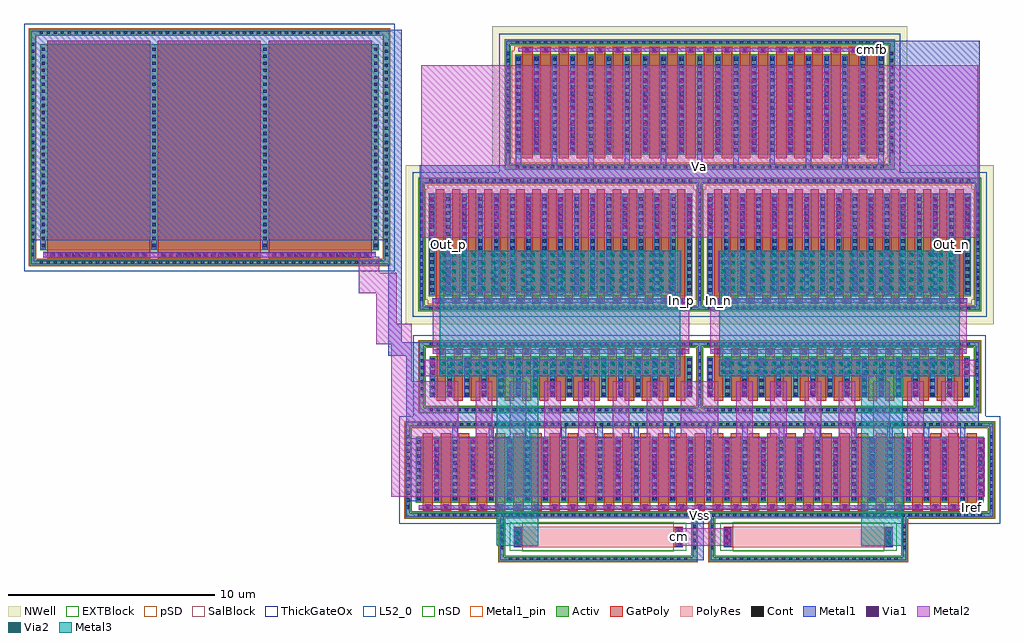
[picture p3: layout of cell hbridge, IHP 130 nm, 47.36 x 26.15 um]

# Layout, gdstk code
from math import pi, radians
import gdstk
lib = gdstk.Library(unit=1e-6, precision=1e-09)
def R(c, l, rs):  # rectangles x0, y0, x1, y1
    for r in rs: c.add(gdstk.rectangle(r[:2], r[2:], *l))
def A(c, l, x, y, w, h, nx, ny, dx, dy):  # array of equal rectangles
    R(c, l, [(x+i*dx, y+j*dy, x+i*dx+w, y+j*dy+h) for i in range(nx) for j in range(ny)])
Activ = (1, 0)
GatPoly = (5, 0)
Cont = (6, 0)
nSD = (7, 0)
Metal1 = (8, 0)
Metal1_pin = (8, 2)
Metal2 = (10, 0)
pSD = (14, 0)
Via1 = (19, 0)
SalBlock = (28, 0)
Via2 = (29, 0)
Metal3 = (30, 0)
NWell = (31, 0)
ThickGateOx = (44, 0)
L52_0 = (52, 0)
EXTBlock = (111, 0)
PolyRes = (128, 0)

dev_n_w2_l0p45_ng15_botc = lib.new_cell('dev_n_w2_l0p45_ng15_botc0')
R(dev_n_w2_l0p45_ng15_botc, Activ, [(-6.885,-1.74,6.885,-1.44), (-6.885,-1.44,-6.585,1.44), (6.585,-1.44,6.885,1.44), (-6.375,-1,6.375,1), (-6.885,1.44,6.885,1.74)])
A(dev_n_w2_l0p45_ng15_botc, GatPoly, -6.035, -1.18, 0.45, 2.55, 15, 1, 0.83, 0)
A(dev_n_w2_l0p45_ng15_botc, Cont, -6.37, -1.67, 0.16, 0.16, 38, 2, 0.34, 3.18)
A(dev_n_w2_l0p45_ng15_botc, Cont, -6.815, -1.005, 0.16, 0.16, 1, 7, 0, 0.34)
A(dev_n_w2_l0p45_ng15_botc, Cont, 6.655, -1.005, 0.16, 0.16, 1, 7, 0, 0.34)
A(dev_n_w2_l0p45_ng15_botc, Cont, -6.305, -0.93, 0.16, 0.16, 16, 6, 0.83, 0.34)
A(dev_n_w2_l0p45_ng15_botc, Cont, -5.89, 1.14, 0.16, 0.16, 15, 1, 0.83, 0)
A(dev_n_w2_l0p45_ng15_botc, Metal1, -6.355, -0.93, 0.26, 1.86, 16, 1, 0.83, 0)
R(dev_n_w2_l0p45_ng15_botc, Metal1, [(-6.815,-1.67,6.815,-1.51), (-6.815,-1.51,-6.655,1.51), (6.655,-1.51,6.815,1.51), (-6.225,1.115,6.225,1.325), (-6.815,1.51,6.815,1.67)])
A(dev_n_w2_l0p45_ng15_botc, Metal2, -5.925, 1.075, 0.23, 0.045, 15, 2, 0.83, 0.245)
R(dev_n_w2_l0p45_ng15_botc, Metal2, [(-6.225,1.12,6.225,1.32)])
R(dev_n_w2_l0p45_ng15_botc, pSD, [(-6.915,-1.77,6.915,-1.41), (-6.915,-1.41,-6.555,1.41), (6.555,-1.41,6.915,1.41), (-6.915,1.41,6.915,1.77)])
A(dev_n_w2_l0p45_ng15_botc, Via1, -5.905, 1.125, 0.19, 0.19, 15, 1, 0.83, 0)
R(dev_n_w2_l0p45_ng15_botc, ThickGateOx, [(-7.155,-2.01,7.155,2.01)])
dev_n_w2_l0p45_ng15_botc.add(gdstk.Label('B', (0,-1.59), layer=8, texttype=25))
dev_n_w2_l0p45_ng15_botc.add(gdstk.Label('D0', (-6.225,0), layer=8, texttype=25))
dev_n_w2_l0p45_ng15_botc.add(gdstk.Label('G', (5.81,1.22), layer=8, texttype=25))
dev_n_w2_l0p45_ng15_botc.add(gdstk.Label('G', (4.98,1.22), layer=8, texttype=25))
dev_n_w2_l0p45_ng15_botc.add(gdstk.Label('G', (4.15,1.22), layer=8, texttype=25))
dev_n_w2_l0p45_ng15_botc.add(gdstk.Label('G', (3.32,1.22), layer=8, texttype=25))
dev_n_w2_l0p45_ng15_botc.add(gdstk.Label('G', (2.49,1.22), layer=8, texttype=25))
dev_n_w2_l0p45_ng15_botc.add(gdstk.Label('G', (1.66,1.22), layer=8, texttype=25))
dev_n_w2_l0p45_ng15_botc.add(gdstk.Label('G', (0.83,1.22), layer=8, texttype=25))
dev_n_w2_l0p45_ng15_botc.add(gdstk.Label('G', (0,1.22), layer=8, texttype=25))
dev_n_w2_l0p45_ng15_botc.add(gdstk.Label('G', (-0.83,1.22), layer=8, texttype=25))
dev_n_w2_l0p45_ng15_botc.add(gdstk.Label('G', (-1.66,1.22), layer=8, texttype=25))
dev_n_w2_l0p45_ng15_botc.add(gdstk.Label('G', (-2.49,1.22), layer=8, texttype=25))
dev_n_w2_l0p45_ng15_botc.add(gdstk.Label('G', (-3.32,1.22), layer=8, texttype=25))
dev_n_w2_l0p45_ng15_botc.add(gdstk.Label('G', (-4.15,1.22), layer=8, texttype=25))
dev_n_w2_l0p45_ng15_botc.add(gdstk.Label('G', (-4.98,1.22), layer=8, texttype=25))
dev_n_w2_l0p45_ng15_botc.add(gdstk.Label('G', (-5.81,1.22), layer=8, texttype=25))
dev_n_w2_l0p45_ng15_botc.add(gdstk.Label('S1', (-5.395,0), layer=8, texttype=25))
dev_n_w2_l0p45_ng15_botc.add(gdstk.Label('D2', (-4.565,0), layer=8, texttype=25))
dev_n_w2_l0p45_ng15_botc.add(gdstk.Label('S3', (-3.735,0), layer=8, texttype=25))
dev_n_w2_l0p45_ng15_botc.add(gdstk.Label('D4', (-2.905,0), layer=8, texttype=25))
dev_n_w2_l0p45_ng15_botc.add(gdstk.Label('S5', (-2.075,0), layer=8, texttype=25))
dev_n_w2_l0p45_ng15_botc.add(gdstk.Label('D6', (-1.245,0), layer=8, texttype=25))
dev_n_w2_l0p45_ng15_botc.add(gdstk.Label('S7', (-0.415,0), layer=8, texttype=25))
dev_n_w2_l0p45_ng15_botc.add(gdstk.Label('D8', (0.415,0), layer=8, texttype=25))
dev_n_w2_l0p45_ng15_botc.add(gdstk.Label('S9', (1.245,0), layer=8, texttype=25))
dev_n_w2_l0p45_ng15_botc.add(gdstk.Label('D10', (2.075,0), layer=8, texttype=25))
dev_n_w2_l0p45_ng15_botc.add(gdstk.Label('S11', (2.905,0), layer=8, texttype=25))
dev_n_w2_l0p45_ng15_botc.add(gdstk.Label('D12', (3.735,0), layer=8, texttype=25))
dev_n_w2_l0p45_ng15_botc.add(gdstk.Label('S13', (4.565,0), layer=8, texttype=25))
dev_n_w2_l0p45_ng15_botc.add(gdstk.Label('D14', (5.395,0), layer=8, texttype=25))
dev_n_w2_l0p45_ng15_botc.add(gdstk.Label('S14', (6.225,0), layer=8, texttype=25))

dev_p_w4p86_l0p5_ng20_bo = lib.new_cell('dev_p_w4p86_l0p5_ng20_botc0')
R(dev_p_w4p86_l0p5_ng20_bo, Activ, [(-9.46,-3.17,9.46,-2.87), (-9.46,-2.87,-9.16,2.87), (9.16,-2.87,9.46,2.87), (-8.95,-2.43,8.95,2.43), (-9.46,2.87,9.46,3.17)])
A(dev_p_w4p86_l0p5_ng20_bo, GatPoly, -8.61, -2.61, 0.5, 5.41, 20, 1, 0.88, 0)
A(dev_p_w4p86_l0p5_ng20_bo, Cont, -8.92, -3.1, 0.16, 0.16, 53, 2, 0.34, 6.04)
A(dev_p_w4p86_l0p5_ng20_bo, Cont, -9.39, -2.365, 0.16, 0.16, 1, 15, 0, 0.34)
A(dev_p_w4p86_l0p5_ng20_bo, Cont, 9.23, -2.365, 0.16, 0.16, 1, 15, 0, 0.34)
A(dev_p_w4p86_l0p5_ng20_bo, Cont, -8.88, -2.29, 0.16, 0.16, 21, 14, 0.88, 0.34)
A(dev_p_w4p86_l0p5_ng20_bo, Cont, -8.44, 2.57, 0.16, 0.16, 20, 1, 0.88, 0)
A(dev_p_w4p86_l0p5_ng20_bo, Metal1, -8.93, -2.36, 0.26, 4.72, 21, 1, 0.88, 0)
R(dev_p_w4p86_l0p5_ng20_bo, Metal1, [(-9.39,-3.1,9.39,-2.94), (-9.39,-2.94,-9.23,2.94), (9.23,-2.94,9.39,2.94), (-8.8,2.545,8.8,2.755), (-9.39,2.94,9.39,3.1)])
A(dev_p_w4p86_l0p5_ng20_bo, Metal2, -8.5, 2.505, 0.28, 0.045, 20, 2, 0.88, 0.245)
R(dev_p_w4p86_l0p5_ng20_bo, Metal2, [(-8.8,2.55,8.8,2.75)])
R(dev_p_w4p86_l0p5_ng20_bo, pSD, [(-9.01,-2.83,9.01,-2.61), (-9.13,-2.61,9.13,2.61), (-9.01,2.61,9.01,2.83)])
A(dev_p_w4p86_l0p5_ng20_bo, Via1, -8.455, 2.555, 0.19, 0.19, 20, 1, 0.88, 0)
R(dev_p_w4p86_l0p5_ng20_bo, NWell, [(-10.08,-3.79,10.08,3.79)])
R(dev_p_w4p86_l0p5_ng20_bo, ThickGateOx, [(-9.73,-3.44,9.73,3.44)])
dev_p_w4p86_l0p5_ng20_bo.add(gdstk.Label('B', (0,-3.02), layer=8, texttype=25))
dev_p_w4p86_l0p5_ng20_bo.add(gdstk.Label('D0', (-8.8,0), layer=8, texttype=25))
dev_p_w4p86_l0p5_ng20_bo.add(gdstk.Label('G', (8.36,2.65), layer=8, texttype=25))
dev_p_w4p86_l0p5_ng20_bo.add(gdstk.Label('G', (7.48,2.65), layer=8, texttype=25))
dev_p_w4p86_l0p5_ng20_bo.add(gdstk.Label('G', (6.6,2.65), layer=8, texttype=25))
dev_p_w4p86_l0p5_ng20_bo.add(gdstk.Label('G', (5.72,2.65), layer=8, texttype=25))
dev_p_w4p86_l0p5_ng20_bo.add(gdstk.Label('G', (4.84,2.65), layer=8, texttype=25))
dev_p_w4p86_l0p5_ng20_bo.add(gdstk.Label('G', (3.96,2.65), layer=8, texttype=25))
dev_p_w4p86_l0p5_ng20_bo.add(gdstk.Label('G', (3.08,2.65), layer=8, texttype=25))
dev_p_w4p86_l0p5_ng20_bo.add(gdstk.Label('G', (2.2,2.65), layer=8, texttype=25))
dev_p_w4p86_l0p5_ng20_bo.add(gdstk.Label('G', (1.32,2.65), layer=8, texttype=25))
dev_p_w4p86_l0p5_ng20_bo.add(gdstk.Label('G', (0.44,2.65), layer=8, texttype=25))
dev_p_w4p86_l0p5_ng20_bo.add(gdstk.Label('G', (-0.44,2.65), layer=8, texttype=25))
dev_p_w4p86_l0p5_ng20_bo.add(gdstk.Label('G', (-1.32,2.65), layer=8, texttype=25))
dev_p_w4p86_l0p5_ng20_bo.add(gdstk.Label('G', (-2.2,2.65), layer=8, texttype=25))
dev_p_w4p86_l0p5_ng20_bo.add(gdstk.Label('G', (-3.08,2.65), layer=8, texttype=25))
dev_p_w4p86_l0p5_ng20_bo.add(gdstk.Label('G', (-3.96,2.65), layer=8, texttype=25))
dev_p_w4p86_l0p5_ng20_bo.add(gdstk.Label('G', (-4.84,2.65), layer=8, texttype=25))
dev_p_w4p86_l0p5_ng20_bo.add(gdstk.Label('G', (-5.72,2.65), layer=8, texttype=25))
dev_p_w4p86_l0p5_ng20_bo.add(gdstk.Label('G', (-6.6,2.65), layer=8, texttype=25))
dev_p_w4p86_l0p5_ng20_bo.add(gdstk.Label('G', (-7.48,2.65), layer=8, texttype=25))
dev_p_w4p86_l0p5_ng20_bo.add(gdstk.Label('G', (-8.36,2.65), layer=8, texttype=25))
dev_p_w4p86_l0p5_ng20_bo.add(gdstk.Label('S1', (-7.92,0), layer=8, texttype=25))
dev_p_w4p86_l0p5_ng20_bo.add(gdstk.Label('D2', (-7.04,0), layer=8, texttype=25))
dev_p_w4p86_l0p5_ng20_bo.add(gdstk.Label('S3', (-6.16,0), layer=8, texttype=25))
dev_p_w4p86_l0p5_ng20_bo.add(gdstk.Label('D4', (-5.28,0), layer=8, texttype=25))
dev_p_w4p86_l0p5_ng20_bo.add(gdstk.Label('S5', (-4.4,0), layer=8, texttype=25))
dev_p_w4p86_l0p5_ng20_bo.add(gdstk.Label('D6', (-3.52,0), layer=8, texttype=25))
dev_p_w4p86_l0p5_ng20_bo.add(gdstk.Label('S7', (-2.64,0), layer=8, texttype=25))
dev_p_w4p86_l0p5_ng20_bo.add(gdstk.Label('D8', (-1.76,0), layer=8, texttype=25))
dev_p_w4p86_l0p5_ng20_bo.add(gdstk.Label('S9', (-0.88,0), layer=8, texttype=25))
dev_p_w4p86_l0p5_ng20_bo.add(gdstk.Label('D10', (0,0), layer=8, texttype=25))
dev_p_w4p86_l0p5_ng20_bo.add(gdstk.Label('S11', (0.88,0), layer=8, texttype=25))
dev_p_w4p86_l0p5_ng20_bo.add(gdstk.Label('D12', (1.76,0), layer=8, texttype=25))
dev_p_w4p86_l0p5_ng20_bo.add(gdstk.Label('S13', (2.64,0), layer=8, texttype=25))
dev_p_w4p86_l0p5_ng20_bo.add(gdstk.Label('D14', (3.52,0), layer=8, texttype=25))
dev_p_w4p86_l0p5_ng20_bo.add(gdstk.Label('S15', (4.4,0), layer=8, texttype=25))
dev_p_w4p86_l0p5_ng20_bo.add(gdstk.Label('D16', (5.28,0), layer=8, texttype=25))
dev_p_w4p86_l0p5_ng20_bo.add(gdstk.Label('S17', (6.16,0), layer=8, texttype=25))
dev_p_w4p86_l0p5_ng20_bo.add(gdstk.Label('D18', (7.04,0), layer=8, texttype=25))
dev_p_w4p86_l0p5_ng20_bo.add(gdstk.Label('S19', (7.92,0), layer=8, texttype=25))

dev_p_w5_l0p4_ng16_topc0 = lib.new_cell('dev_p_w5_l0p4_ng16_topc0')
R(dev_p_w5_l0p4_ng16_topc0, Activ, [(-6.9,-3.24,6.9,-2.94), (-6.9,-2.94,-6.6,2.94), (6.6,-2.94,6.9,2.94), (-6.39,-2.5,6.39,2.5), (-6.9,2.94,6.9,3.24)])
A(dev_p_w5_l0p4_ng16_topc0, GatPoly, -6.05, -2.87, 0.4, 5.55, 16, 1, 0.78, 0)
A(dev_p_w5_l0p4_ng16_topc0, Cont, -6.37, -3.17, 0.16, 0.16, 38, 2, 0.34, 6.18)
A(dev_p_w5_l0p4_ng16_topc0, Cont, -5.93, -2.8, 0.16, 0.16, 16, 1, 0.78, 0)
A(dev_p_w5_l0p4_ng16_topc0, Cont, -6.83, -2.725, 0.16, 0.16, 1, 16, 0, 0.34)
A(dev_p_w5_l0p4_ng16_topc0, Cont, 6.67, -2.725, 0.16, 0.16, 1, 16, 0, 0.34)
A(dev_p_w5_l0p4_ng16_topc0, Cont, -6.32, -2.29, 0.16, 0.16, 17, 14, 0.78, 0.34)
A(dev_p_w5_l0p4_ng16_topc0, Metal1, -6.37, -2.43, 0.26, 4.86, 17, 1, 0.78, 0)
R(dev_p_w5_l0p4_ng16_topc0, Metal1, [(-6.83,-3.17,6.83,-3.01), (-6.83,-3.01,-6.67,3.01), (6.67,-3.01,6.83,3.01), (-6.24,-2.825,6.24,-2.615), (-6.83,3.01,6.83,3.17)])
A(dev_p_w5_l0p4_ng16_topc0, Metal2, -5.98, -2.865, 0.26, 0.045, 16, 2, 0.78, 0.245)
R(dev_p_w5_l0p4_ng16_topc0, Metal2, [(-6.24,-2.82,6.24,-2.62)])
R(dev_p_w5_l0p4_ng16_topc0, pSD, [(-6.45,-2.9,6.45,-2.68), (-6.57,-2.68,6.57,2.68), (-6.45,2.68,6.45,2.9)])
A(dev_p_w5_l0p4_ng16_topc0, Via1, -5.945, -2.815, 0.19, 0.19, 16, 1, 0.78, 0)
R(dev_p_w5_l0p4_ng16_topc0, NWell, [(-7.52,-3.86,7.52,3.86)])
R(dev_p_w5_l0p4_ng16_topc0, ThickGateOx, [(-7.17,-3.51,7.17,3.51)])
dev_p_w5_l0p4_ng16_topc0.add(gdstk.Label('B', (0,-3.09), layer=8, texttype=25))
dev_p_w5_l0p4_ng16_topc0.add(gdstk.Label('D0', (-6.24,0), layer=8, texttype=25))
dev_p_w5_l0p4_ng16_topc0.add(gdstk.Label('G', (5.85,-2.72), layer=8, texttype=25))
dev_p_w5_l0p4_ng16_topc0.add(gdstk.Label('G', (5.07,-2.72), layer=8, texttype=25))
dev_p_w5_l0p4_ng16_topc0.add(gdstk.Label('G', (4.29,-2.72), layer=8, texttype=25))
dev_p_w5_l0p4_ng16_topc0.add(gdstk.Label('G', (3.51,-2.72), layer=8, texttype=25))
dev_p_w5_l0p4_ng16_topc0.add(gdstk.Label('G', (2.73,-2.72), layer=8, texttype=25))
dev_p_w5_l0p4_ng16_topc0.add(gdstk.Label('G', (1.95,-2.72), layer=8, texttype=25))
dev_p_w5_l0p4_ng16_topc0.add(gdstk.Label('G', (1.17,-2.72), layer=8, texttype=25))
dev_p_w5_l0p4_ng16_topc0.add(gdstk.Label('G', (0.39,-2.72), layer=8, texttype=25))
dev_p_w5_l0p4_ng16_topc0.add(gdstk.Label('G', (-0.39,-2.72), layer=8, texttype=25))
dev_p_w5_l0p4_ng16_topc0.add(gdstk.Label('G', (-1.17,-2.72), layer=8, texttype=25))
dev_p_w5_l0p4_ng16_topc0.add(gdstk.Label('G', (-1.95,-2.72), layer=8, texttype=25))
dev_p_w5_l0p4_ng16_topc0.add(gdstk.Label('G', (-2.73,-2.72), layer=8, texttype=25))
dev_p_w5_l0p4_ng16_topc0.add(gdstk.Label('G', (-3.51,-2.72), layer=8, texttype=25))
dev_p_w5_l0p4_ng16_topc0.add(gdstk.Label('G', (-4.29,-2.72), layer=8, texttype=25))
dev_p_w5_l0p4_ng16_topc0.add(gdstk.Label('G', (-5.07,-2.72), layer=8, texttype=25))
dev_p_w5_l0p4_ng16_topc0.add(gdstk.Label('G', (-5.85,-2.72), layer=8, texttype=25))
dev_p_w5_l0p4_ng16_topc0.add(gdstk.Label('S1', (-5.46,0), layer=8, texttype=25))
dev_p_w5_l0p4_ng16_topc0.add(gdstk.Label('D2', (-4.68,0), layer=8, texttype=25))
dev_p_w5_l0p4_ng16_topc0.add(gdstk.Label('S3', (-3.9,0), layer=8, texttype=25))
dev_p_w5_l0p4_ng16_topc0.add(gdstk.Label('D4', (-3.12,0), layer=8, texttype=25))
dev_p_w5_l0p4_ng16_topc0.add(gdstk.Label('S5', (-2.34,0), layer=8, texttype=25))
dev_p_w5_l0p4_ng16_topc0.add(gdstk.Label('D6', (-1.56,0), layer=8, texttype=25))
dev_p_w5_l0p4_ng16_topc0.add(gdstk.Label('S7', (-0.78,0), layer=8, texttype=25))
dev_p_w5_l0p4_ng16_topc0.add(gdstk.Label('D8', (0,0), layer=8, texttype=25))
dev_p_w5_l0p4_ng16_topc0.add(gdstk.Label('S9', (0.78,0), layer=8, texttype=25))
dev_p_w5_l0p4_ng16_topc0.add(gdstk.Label('D10', (1.56,0), layer=8, texttype=25))
dev_p_w5_l0p4_ng16_topc0.add(gdstk.Label('S11', (2.34,0), layer=8, texttype=25))
dev_p_w5_l0p4_ng16_topc0.add(gdstk.Label('D12', (3.12,0), layer=8, texttype=25))
dev_p_w5_l0p4_ng16_topc0.add(gdstk.Label('S13', (3.9,0), layer=8, texttype=25))
dev_p_w5_l0p4_ng16_topc0.add(gdstk.Label('D14', (4.68,0), layer=8, texttype=25))
dev_p_w5_l0p4_ng16_topc0.add(gdstk.Label('S15', (5.46,0), layer=8, texttype=25))

dev_n_w3p2_l0p5_ng31_top = lib.new_cell('dev_n_w3p2_l0p5_ng31_topc0')
R(dev_n_w3p2_l0p5_ng31_top, Activ, [(-14.3,-2.34,14.3,-2.04), (-14.3,-2.04,-14,2.04), (14,-2.04,14.3,2.04), (-13.79,-1.6,13.79,1.6), (-14.3,2.04,14.3,2.34)])
A(dev_n_w3p2_l0p5_ng31_top, GatPoly, -13.45, -1.97, 0.5, 3.75, 31, 1, 0.88, 0)
A(dev_n_w3p2_l0p5_ng31_top, Cont, -13.68, -2.27, 0.16, 0.16, 81, 2, 0.34, 4.38)
A(dev_n_w3p2_l0p5_ng31_top, Cont, -13.28, -1.9, 0.16, 0.16, 31, 1, 0.88, 0)
A(dev_n_w3p2_l0p5_ng31_top, Cont, -14.23, -1.875, 0.16, 0.16, 1, 11, 0, 0.34)
A(dev_n_w3p2_l0p5_ng31_top, Cont, 14.07, -1.875, 0.16, 0.16, 1, 11, 0, 0.34)
A(dev_n_w3p2_l0p5_ng31_top, Cont, -13.72, -1.44, 0.16, 0.16, 32, 9, 0.88, 0.34)
A(dev_n_w3p2_l0p5_ng31_top, Metal1, -13.77, -1.53, 0.26, 3.06, 32, 1, 0.88, 0)
R(dev_n_w3p2_l0p5_ng31_top, Metal1, [(-14.23,-2.27,14.23,-2.11), (-14.23,-2.11,-14.07,2.11), (14.07,-2.11,14.23,2.11), (-13.64,-1.925,13.64,-1.715), (-14.23,2.11,14.23,2.27)])
A(dev_n_w3p2_l0p5_ng31_top, Metal2, -13.34, -1.965, 0.28, 0.045, 31, 2, 0.88, 0.245)
R(dev_n_w3p2_l0p5_ng31_top, Metal2, [(-13.64,-1.92,13.64,-1.72)])
R(dev_n_w3p2_l0p5_ng31_top, pSD, [(-14.33,-2.37,14.33,-2.01), (-14.33,-2.01,-13.97,2.01), (13.97,-2.01,14.33,2.01), (-14.33,2.01,14.33,2.37)])
A(dev_n_w3p2_l0p5_ng31_top, Via1, -13.295, -1.915, 0.19, 0.19, 31, 1, 0.88, 0)
R(dev_n_w3p2_l0p5_ng31_top, ThickGateOx, [(-14.57,-2.61,14.57,2.61)])
dev_n_w3p2_l0p5_ng31_top.add(gdstk.Label('B', (0,-2.19), layer=8, texttype=25))
dev_n_w3p2_l0p5_ng31_top.add(gdstk.Label('D0', (-13.64,0), layer=8, texttype=25))
dev_n_w3p2_l0p5_ng31_top.add(gdstk.Label('G', (13.2,-1.82), layer=8, texttype=25))
dev_n_w3p2_l0p5_ng31_top.add(gdstk.Label('G', (12.32,-1.82), layer=8, texttype=25))
dev_n_w3p2_l0p5_ng31_top.add(gdstk.Label('G', (11.44,-1.82), layer=8, texttype=25))
dev_n_w3p2_l0p5_ng31_top.add(gdstk.Label('G', (10.56,-1.82), layer=8, texttype=25))
dev_n_w3p2_l0p5_ng31_top.add(gdstk.Label('G', (9.68,-1.82), layer=8, texttype=25))
dev_n_w3p2_l0p5_ng31_top.add(gdstk.Label('G', (8.8,-1.82), layer=8, texttype=25))
dev_n_w3p2_l0p5_ng31_top.add(gdstk.Label('G', (7.92,-1.82), layer=8, texttype=25))
dev_n_w3p2_l0p5_ng31_top.add(gdstk.Label('G', (7.04,-1.82), layer=8, texttype=25))
dev_n_w3p2_l0p5_ng31_top.add(gdstk.Label('G', (6.16,-1.82), layer=8, texttype=25))
dev_n_w3p2_l0p5_ng31_top.add(gdstk.Label('G', (5.28,-1.82), layer=8, texttype=25))
dev_n_w3p2_l0p5_ng31_top.add(gdstk.Label('G', (4.4,-1.82), layer=8, texttype=25))
dev_n_w3p2_l0p5_ng31_top.add(gdstk.Label('G', (3.52,-1.82), layer=8, texttype=25))
dev_n_w3p2_l0p5_ng31_top.add(gdstk.Label('G', (2.64,-1.82), layer=8, texttype=25))
dev_n_w3p2_l0p5_ng31_top.add(gdstk.Label('G', (1.76,-1.82), layer=8, texttype=25))
dev_n_w3p2_l0p5_ng31_top.add(gdstk.Label('G', (0.88,-1.82), layer=8, texttype=25))
dev_n_w3p2_l0p5_ng31_top.add(gdstk.Label('G', (0,-1.82), layer=8, texttype=25))
dev_n_w3p2_l0p5_ng31_top.add(gdstk.Label('G', (-0.88,-1.82), layer=8, texttype=25))
dev_n_w3p2_l0p5_ng31_top.add(gdstk.Label('G', (-1.76,-1.82), layer=8, texttype=25))
dev_n_w3p2_l0p5_ng31_top.add(gdstk.Label('G', (-2.64,-1.82), layer=8, texttype=25))
dev_n_w3p2_l0p5_ng31_top.add(gdstk.Label('G', (-3.52,-1.82), layer=8, texttype=25))
dev_n_w3p2_l0p5_ng31_top.add(gdstk.Label('G', (-4.4,-1.82), layer=8, texttype=25))
dev_n_w3p2_l0p5_ng31_top.add(gdstk.Label('G', (-5.28,-1.82), layer=8, texttype=25))
dev_n_w3p2_l0p5_ng31_top.add(gdstk.Label('G', (-6.16,-1.82), layer=8, texttype=25))
dev_n_w3p2_l0p5_ng31_top.add(gdstk.Label('G', (-7.04,-1.82), layer=8, texttype=25))
dev_n_w3p2_l0p5_ng31_top.add(gdstk.Label('G', (-7.92,-1.82), layer=8, texttype=25))
dev_n_w3p2_l0p5_ng31_top.add(gdstk.Label('G', (-8.8,-1.82), layer=8, texttype=25))
dev_n_w3p2_l0p5_ng31_top.add(gdstk.Label('G', (-9.68,-1.82), layer=8, texttype=25))
dev_n_w3p2_l0p5_ng31_top.add(gdstk.Label('G', (-10.56,-1.82), layer=8, texttype=25))
dev_n_w3p2_l0p5_ng31_top.add(gdstk.Label('G', (-11.44,-1.82), layer=8, texttype=25))
dev_n_w3p2_l0p5_ng31_top.add(gdstk.Label('G', (-12.32,-1.82), layer=8, texttype=25))
dev_n_w3p2_l0p5_ng31_top.add(gdstk.Label('G', (-13.2,-1.82), layer=8, texttype=25))
dev_n_w3p2_l0p5_ng31_top.add(gdstk.Label('S1', (-12.76,0), layer=8, texttype=25))
dev_n_w3p2_l0p5_ng31_top.add(gdstk.Label('D2', (-11.88,0), layer=8, texttype=25))
dev_n_w3p2_l0p5_ng31_top.add(gdstk.Label('S3', (-11,0), layer=8, texttype=25))
dev_n_w3p2_l0p5_ng31_top.add(gdstk.Label('D4', (-10.12,0), layer=8, texttype=25))
dev_n_w3p2_l0p5_ng31_top.add(gdstk.Label('S5', (-9.24,0), layer=8, texttype=25))
dev_n_w3p2_l0p5_ng31_top.add(gdstk.Label('D6', (-8.36,0), layer=8, texttype=25))
dev_n_w3p2_l0p5_ng31_top.add(gdstk.Label('S7', (-7.48,0), layer=8, texttype=25))
dev_n_w3p2_l0p5_ng31_top.add(gdstk.Label('D8', (-6.6,0), layer=8, texttype=25))
dev_n_w3p2_l0p5_ng31_top.add(gdstk.Label('S9', (-5.72,0), layer=8, texttype=25))
dev_n_w3p2_l0p5_ng31_top.add(gdstk.Label('D10', (-4.84,0), layer=8, texttype=25))
dev_n_w3p2_l0p5_ng31_top.add(gdstk.Label('S11', (-3.96,0), layer=8, texttype=25))
dev_n_w3p2_l0p5_ng31_top.add(gdstk.Label('D12', (-3.08,0), layer=8, texttype=25))
dev_n_w3p2_l0p5_ng31_top.add(gdstk.Label('S13', (-2.2,0), layer=8, texttype=25))
dev_n_w3p2_l0p5_ng31_top.add(gdstk.Label('D14', (-1.32,0), layer=8, texttype=25))
dev_n_w3p2_l0p5_ng31_top.add(gdstk.Label('S15', (-0.44,0), layer=8, texttype=25))
dev_n_w3p2_l0p5_ng31_top.add(gdstk.Label('D16', (0.44,0), layer=8, texttype=25))
dev_n_w3p2_l0p5_ng31_top.add(gdstk.Label('S17', (1.32,0), layer=8, texttype=25))
dev_n_w3p2_l0p5_ng31_top.add(gdstk.Label('D18', (2.2,0), layer=8, texttype=25))
dev_n_w3p2_l0p5_ng31_top.add(gdstk.Label('S19', (3.08,0), layer=8, texttype=25))
dev_n_w3p2_l0p5_ng31_top.add(gdstk.Label('D20', (3.96,0), layer=8, texttype=25))
dev_n_w3p2_l0p5_ng31_top.add(gdstk.Label('S21', (4.84,0), layer=8, texttype=25))
dev_n_w3p2_l0p5_ng31_top.add(gdstk.Label('D22', (5.72,0), layer=8, texttype=25))
dev_n_w3p2_l0p5_ng31_top.add(gdstk.Label('S23', (6.6,0), layer=8, texttype=25))
dev_n_w3p2_l0p5_ng31_top.add(gdstk.Label('D24', (7.48,0), layer=8, texttype=25))
dev_n_w3p2_l0p5_ng31_top.add(gdstk.Label('S25', (8.36,0), layer=8, texttype=25))
dev_n_w3p2_l0p5_ng31_top.add(gdstk.Label('D26', (9.24,0), layer=8, texttype=25))
dev_n_w3p2_l0p5_ng31_top.add(gdstk.Label('S27', (10.12,0), layer=8, texttype=25))
dev_n_w3p2_l0p5_ng31_top.add(gdstk.Label('D28', (11,0), layer=8, texttype=25))
dev_n_w3p2_l0p5_ng31_top.add(gdstk.Label('S29', (11.88,0), layer=8, texttype=25))
dev_n_w3p2_l0p5_ng31_top.add(gdstk.Label('D30', (12.76,0), layer=8, texttype=25))
dev_n_w3p2_l0p5_ng31_top.add(gdstk.Label('S30', (13.64,0), layer=8, texttype=25))

dev_n_w10_l5_ng3_conn_ga = lib.new_cell('dev_n_w10_l5_ng3_conn_gates1_polycov100_topc0_viagate100')
R(dev_n_w10_l5_ng3_conn_ga, Activ, [(-8.73,-5.74,8.73,-5.44), (-8.73,-5.44,-8.43,5.44), (8.43,-5.44,8.73,5.44), (-8.22,-5,8.22,5), (-8.73,5.44,8.73,5.74)])
A(dev_n_w10_l5_ng3_conn_ga, GatPoly, -7.88, -5.37, 5, 10.55, 3, 1, 5.38, 0)
A(dev_n_w10_l5_ng3_conn_ga, Cont, -8.24, -5.67, 0.16, 0.16, 49, 2, 0.34, 11.18)
A(dev_n_w10_l5_ng3_conn_ga, Cont, -7.67, -5.3, 0.16, 0.16, 14, 1, 0.34, 0)
A(dev_n_w10_l5_ng3_conn_ga, Cont, -2.29, -5.3, 0.16, 0.16, 14, 1, 0.34, 0)
A(dev_n_w10_l5_ng3_conn_ga, Cont, 3.09, -5.3, 0.16, 0.16, 14, 1, 0.34, 0)
A(dev_n_w10_l5_ng3_conn_ga, Cont, -8.66, -5.275, 0.16, 0.16, 1, 31, 0, 0.34)
A(dev_n_w10_l5_ng3_conn_ga, Cont, 8.5, -5.275, 0.16, 0.16, 1, 31, 0, 0.34)
A(dev_n_w10_l5_ng3_conn_ga, Cont, -8.15, -4.84, 0.16, 0.16, 4, 29, 5.38, 0.34)
A(dev_n_w10_l5_ng3_conn_ga, Metal1, -8.2, -4.93, 0.26, 9.86, 4, 1, 5.38, 0)
R(dev_n_w10_l5_ng3_conn_ga, Metal1, [(-8.66,-5.67,8.66,-5.51), (-8.66,-5.51,-8.5,5.51), (8.5,-5.51,8.66,5.51), (-8.07,-5.325,8.07,-5.115), (-8.66,5.51,8.66,5.67)])
A(dev_n_w10_l5_ng3_conn_ga, Metal2, -7.77, -5.365, 4.78, 0.045, 3, 2, 5.38, 0.245)
R(dev_n_w10_l5_ng3_conn_ga, Metal2, [(-8.07,-5.32,8.07,-5.12)])
R(dev_n_w10_l5_ng3_conn_ga, pSD, [(-8.76,-5.77,8.76,-5.41), (-8.76,-5.41,-8.4,5.41), (8.4,-5.41,8.76,5.41), (-8.76,5.41,8.76,5.77)])
A(dev_n_w10_l5_ng3_conn_ga, Via1, -7.73, -5.315, 0.19, 0.19, 12, 1, 0.41, 0)
A(dev_n_w10_l5_ng3_conn_ga, Via1, -2.35, -5.315, 0.19, 0.19, 12, 1, 0.41, 0)
A(dev_n_w10_l5_ng3_conn_ga, Via1, 3.03, -5.315, 0.19, 0.19, 12, 1, 0.41, 0)
R(dev_n_w10_l5_ng3_conn_ga, ThickGateOx, [(-9,-6.01,9,6.01)])
dev_n_w10_l5_ng3_conn_ga.add(gdstk.Label('B', (0,-5.59), layer=8, texttype=25))
dev_n_w10_l5_ng3_conn_ga.add(gdstk.Label('D0', (-8.07,0), layer=8, texttype=25))
dev_n_w10_l5_ng3_conn_ga.add(gdstk.Label('G', (5.38,-5.22), layer=8, texttype=25))
dev_n_w10_l5_ng3_conn_ga.add(gdstk.Label('G', (0,-5.22), layer=8, texttype=25))
dev_n_w10_l5_ng3_conn_ga.add(gdstk.Label('G', (-5.38,-5.22), layer=8, texttype=25))
dev_n_w10_l5_ng3_conn_ga.add(gdstk.Label('S1', (-2.69,0), layer=8, texttype=25))
dev_n_w10_l5_ng3_conn_ga.add(gdstk.Label('D2', (2.69,0), layer=8, texttype=25))
dev_n_w10_l5_ng3_conn_ga.add(gdstk.Label('S2', (8.07,0), layer=8, texttype=25))

dev_rhigh_w1_l7p35 = lib.new_cell('dev_rhigh_w1_l7p35')
R(dev_rhigh_w1_l7p35, Activ, [(-1.21,-4.815,1.21,-4.515), (-1.21,-4.515,-0.91,4.515), (0.91,-4.515,1.21,4.515), (-1.21,4.515,1.21,4.815)])
R(dev_rhigh_w1_l7p35, GatPoly, [(-0.5,-4.105,0.5,-3.675), (-0.5,3.675,0.5,4.105)])
A(dev_rhigh_w1_l7p35, Cont, -0.59, -4.745, 0.16, 0.16, 4, 2, 0.34, 9.33)
A(dev_rhigh_w1_l7p35, Cont, -1.14, -4.33, 0.16, 0.16, 1, 26, 0, 0.34)
A(dev_rhigh_w1_l7p35, Cont, 0.98, -4.33, 0.16, 0.16, 1, 26, 0, 0.34)
A(dev_rhigh_w1_l7p35, Cont, -0.42, -4.035, 0.16, 0.16, 3, 2, 0.34, 7.91)
R(dev_rhigh_w1_l7p35, nSD, [(-0.68,-4.285,0.68,4.285)])
R(dev_rhigh_w1_l7p35, Metal1, [(-1.14,-4.745,1.14,-4.585), (-1.14,-4.585,-0.98,4.585), (0.98,-4.585,1.14,4.585), (-0.48,-4.085,0.48,-3.77), (-0.48,3.77,0.48,4.085), (-1.14,4.585,1.14,4.745)])
R(dev_rhigh_w1_l7p35, Metal2, [(-0.43,-4.1,0.43,-3.73), (-0.43,3.73,0.43,4.1)])
R(dev_rhigh_w1_l7p35, pSD, [(-1.24,-4.845,1.24,4.845)])
R(dev_rhigh_w1_l7p35, Via1, [(-0.3,-4.01,-0.11,-3.82), (0.11,-4.01,0.3,-3.82), (-0.3,3.82,-0.11,4.01), (0.11,3.82,0.3,4.01)])
R(dev_rhigh_w1_l7p35, SalBlock, [(-0.7,-3.675,0.7,3.675)])
R(dev_rhigh_w1_l7p35, L52_0, [(-0.5,-3.675,0.5,3.675)])
R(dev_rhigh_w1_l7p35, EXTBlock, [(-0.68,-4.285,0.68,4.285)])
R(dev_rhigh_w1_l7p35, PolyRes, [(-0.5,-3.675,0.5,3.675)])
dev_rhigh_w1_l7p35.add(gdstk.Label('B', (0,-4.665), layer=8, texttype=25))
dev_rhigh_w1_l7p35.add(gdstk.Label('R1', (0,3.955), layer=8, texttype=25))
dev_rhigh_w1_l7p35.add(gdstk.Label('R2', (0,-3.955), layer=8, texttype=25))

hbridge = lib.new_cell('hbridge')
A(hbridge, Metal1, 16.75, 8.605, 0.26, 0.58, 15, 1, 1.76, 0)
A(hbridge, Metal1, 15.67, 10.62, 0.26, 0.05, 16, 1, 0.83, 0)
A(hbridge, Metal1, 29.14, 10.62, 0.26, 0.05, 16, 1, 0.83, 0)
A(hbridge, Metal1, 19.83, 21.82, 0.26, 0.68, 11, 1, 1.76, 0)
R(hbridge, Metal1, [(28.575,2.685,28.945,4.805), (14.69,5.545,14.99,8.605), (14.53,9.345,15.21,13.27), (15.21,9.345,42.31,9.93), (13.47,17.055,13.81,28.395), (13.8,17.105,14.3,28.445), (-3.53,18.23,13.47,28.235), (15.18,21.02,42.34,21.87), (38.15,21.87,42.34,27.91)])
R(hbridge, Metal1_pin, [(27.735,3.775,27.835,3.875), (28.71,4.835,28.81,4.935), (41.91,5.205,42.01,5.305), (27.81,15.24,27.91,15.34), (29.61,15.24,29.71,15.34), (16.5,17.96,16.6,18.06), (40.92,17.96,41.02,18.06), (28.71,21.74,28.81,21.84), (37.07,27.41,37.17,27.51)])
A(hbridge, Metal2, 16.23, 8.53, 0.8, 2.84, 7, 1, 1.66, 0)
A(hbridge, Metal2, 30.53, 8.53, 0.8, 2.84, 7, 1, 1.66, 0)
R(hbridge, Metal2, [(27.56,3.395,30.3,4.255), (13.79,5.78,16.3,11.37), (15.805,5.78,42.595,8.63), (27.85,8.53,29.67,11.37), (15.4,11.63,27.82,12.42), (29.7,11.63,42.12,12.42), (15.8,12.92,28.25,15.19), (29.27,12.92,41.72,15.19), (16.15,15.69,27.87,17.72), (29.65,15.69,41.37,17.72), (-3.1,17.36,13.04,17.65), (15.24,18.34,42.28,26.7)])
A(hbridge, Via1, 15.905, 5.88, 0.19, 0.19, 16, 7, 1.76, 0.41)
A(hbridge, Via1, 16.535, 10.72, 0.19, 0.19, 8, 2, 1.66, 0.41)
A(hbridge, Via1, 29.175, 10.72, 0.19, 0.19, 8, 2, 1.66, 0.41)
A(hbridge, Via1, 15.705, 11.73, 0.19, 0.19, 8, 2, 1.66, 0.41)
A(hbridge, Via1, 30.005, 11.73, 0.19, 0.19, 8, 2, 1.66, 0.41)
A(hbridge, Via1, 16.455, 15.79, 0.19, 0.19, 8, 5, 1.56, 0.41)
A(hbridge, Via1, 29.955, 15.79, 0.19, 0.19, 8, 5, 1.56, 0.41)
A(hbridge, Via1, 15.675, 18.44, 0.19, 0.19, 9, 5, 1.56, 0.41)
A(hbridge, Via1, 29.175, 18.44, 0.19, 0.19, 9, 5, 1.56, 0.41)
A(hbridge, Via1, 20.745, 22.55, 0.19, 0.19, 10, 10, 1.76, 0.41)
A(hbridge, Via2, 16.25, 11.73, 0.19, 0.19, 28, 2, 0.41, 0.41)
A(hbridge, Via2, 29.8, 11.73, 0.19, 0.19, 28, 2, 0.41, 0.41)
A(hbridge, Via2, 16.25, 15.79, 0.19, 0.19, 24, 5, 0.48, 0.41)
A(hbridge, Via2, 29.8, 15.79, 0.19, 0.19, 24, 5, 0.48, 0.41)
R(hbridge, Via2, [(19.82,3.495,20.01,3.685), (37.85,3.495,38.04,3.685), (19.82,3.905,20.01,4.095), (37.85,3.905,38.04,4.095)])
R(hbridge, Metal3, [(18.915,3.395,20.915,11.73), (36.605,3.395,38.605,11.73), (16.15,11.63,27.82,17.72), (29.7,11.63,41.37,17.72)])
hbridge.add(gdstk.FlexPath([(13.97,17.105),(13.97,12.94),(14.53,12.94)], 0.66, ends="flush", simple_path=True, layer=8, datatype=0))  # Metal1
hbridge.add(gdstk.FlexPath([(14.29,11.37),(14.29,13.665),(13.56,13.665),(13.56,16.145),(12.71,16.145),(12.71,17.41)], 1, ends="flush", simple_path=True, layer=10, datatype=0))  # Metal2
hbridge.add(gdstk.Reference(dev_n_w2_l0p45_ng15_botc, (22.025,11.6)))
hbridge.add(gdstk.Reference(dev_p_w4p86_l0p5_ng20_bo, (28.76,24.81)))
hbridge.add(gdstk.Reference(dev_n_w2_l0p45_ng15_botc, (35.495,11.6), rotation=pi, x_reflection=True))
hbridge.add(gdstk.Reference(dev_p_w5_l0p4_ng16_topc0, (35.51,18.01), rotation=pi, x_reflection=True))
hbridge.add(gdstk.Reference(dev_p_w5_l0p4_ng16_topc0, (22.01,18.01)))
hbridge.add(gdstk.Reference(dev_n_w3p2_l0p5_ng31_top, (28.76,7.075)))
hbridge.add(gdstk.Reference(dev_n_w10_l5_ng3_conn_ga, (4.97,22.725)))
hbridge.add(gdstk.Reference(dev_rhigh_w1_l7p35, (23.83,3.825), rotation=pi/2))
hbridge.add(gdstk.Reference(dev_rhigh_w1_l7p35, (34.03,3.825), rotation=pi/2, x_reflection=True))
hbridge.add(gdstk.Label('Out_p', (16.55,18.01), layer=8, texttype=25))
hbridge.add(gdstk.Label('Out_n', (40.97,18.01), layer=8, texttype=25))
hbridge.add(gdstk.Label('In_p', (27.86,15.29), layer=8, texttype=25))
hbridge.add(gdstk.Label('In_n', (29.66,15.29), layer=8, texttype=25))
hbridge.add(gdstk.Label('Iref', (41.96,5.255), layer=8, texttype=25))
hbridge.add(gdstk.Label('cmfb', (37.12,27.46), layer=8, texttype=25))
hbridge.add(gdstk.Label('cm', (27.785,3.825), layer=8, texttype=25))
hbridge.add(gdstk.Label('Va', (28.76,21.79), layer=8, texttype=25))
hbridge.add(gdstk.Label('Vss', (28.76,4.885), layer=8, texttype=25))

lib.write_gds('hbridge.gds')
